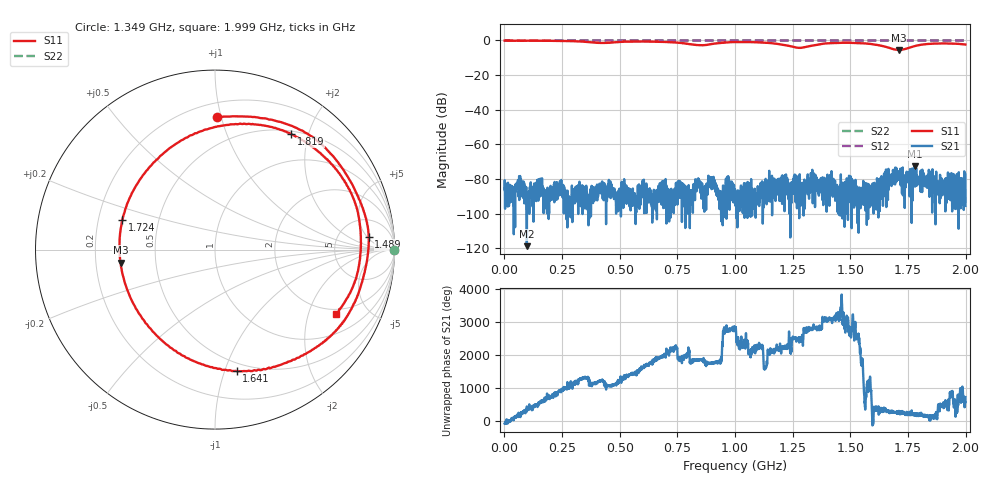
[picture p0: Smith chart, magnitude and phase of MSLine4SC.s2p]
! Anritsu VNA Master:  Model: MS2025B
! SN:  1642059
! /bd0/PROE/TP1/MSLine4SC.s2p
! Existing Calibration Information:
! TYPE:  Current Settings,  Active Cal Settings
! TIME:  04/16/2024 08:56:18 AM,  03/12/2018 11:45:53 AM
! INTERNAL TEMP:  42.8 C,  40.8 C
! # POINTS:  2857,  4001
! START FREQ:  1.000 MHz,  1.000 MHz
! STOP FREQ:  1.999 486 GHz,  2.800 GHz
! SOURCE POWER:  Default,  Default
! IFBW:  1 kHz,  1 kHz
! AVG FACTOR:  1 ,  1
! REF PLANE 1:  0 mm,  0 mm
! REF PLANE 2:  0 mm,  0 mm
! CAL TYPE:  1P2P S11,S21,  1P2P S11,S21
! CAL METHOD:  SOLT,  SOLT
! CAL LINE TYPE:  Coax,  Coax
! DUT PORT 1:  ,
! DUT PORT 2:  N-Conn(M),  N-Conn(M)
! CAL STATUS:  OK: Accuracy High,  --
# GHZ S MA R 50.0
! FREQ.GHZ  S11M  S11A  S21M  S21A  S12M  S12A  S22M  S22A
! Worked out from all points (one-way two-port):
!   2857 points, 1 MHz to 1.999 GHz, reference 50 ohm
!   highest |S21| = -72.63 dB at 1.779 GHz (marker M1); lowest = -118.7 dB at 97.57 MHz (marker M2)
!   lowest |S11| = -5.5 dB at 1.71 GHz (marker M3), VSWR 3.27, Z = 15.4 - j3.08 ohm
!   |S11| at or under -10 dB: nowhere
!   |S22| runs from 0.0 to 0.0 dB; largest |S21 - S12| = 1
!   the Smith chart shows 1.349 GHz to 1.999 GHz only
!   S11 on the Smith chart (normalised r, x): 1.349 GHz: 0.30, +0.97; 1.489 GHz: 10, +6; 1.641 GHz: 0.43, -1.10; 1.724 GHz: 0.30, +0.14; 1.819 GHz: 0.55, +1.73; 1.999 GHz: 1.78, -3.06
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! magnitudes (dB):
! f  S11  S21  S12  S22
! 1 MHz  -0.1  -86.0  0.0  0.0
! 97.57 MHz  -0.2  -118.7  0.0  0.0
! 334.1 MHz  -0.6  -91.3  0.0  0.0
! 423.6 MHz  -1.4  -84.1  0.0  0.0
! 667.2 MHz  -0.7  -89.7  0.0  0.0
! 854 MHz  -2.8  -87.9  0.0  0.0
! 1 GHz  -1.0  -85.9  0.0  0.0
! 1.159 GHz  -1.6  -90.1  0.0  0.0
! 1.277 GHz  -4.3  -84.9  0.0  0.0
! 1.333 GHz  -3.0  -83.8  0.0  0.0
! 1.349 GHz  -2.6  -78.9  0.0  0.0
! 1.489 GHz  -1.3  -85.0  0.0  0.0
! 1.641 GHz  -3.2  -80.1  0.0  0.0
! 1.666 GHz  -4.2  -78.8  0.0  0.0
! 1.692 GHz  -5.2  -76.2  0.0  0.0
! 1.71 GHz  -5.5  -78.8  0.0  0.0
! 1.724 GHz  -5.3  -88.3  0.0  0.0
! 1.738 GHz  -4.9  -82.3  0.0  0.0
! 1.76 GHz  -4.0  -77.7  0.0  0.0
! 1.779 GHz  -3.3  -72.6  0.0  0.0
! 1.819 GHz  -2.3  -81.4  0.0  0.0
! 1.999 GHz  -2.3  -95.5  0.0  0.0
